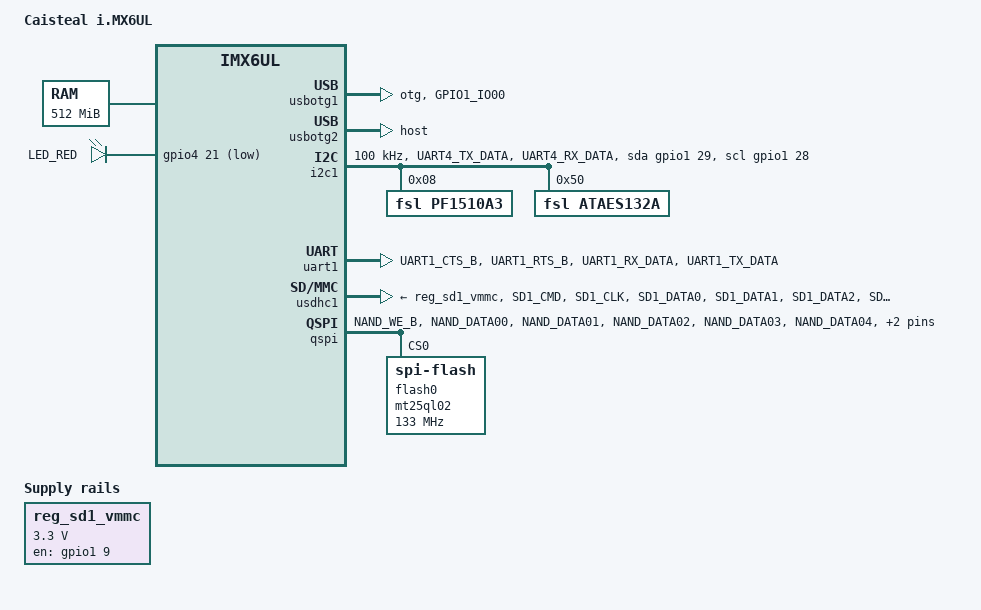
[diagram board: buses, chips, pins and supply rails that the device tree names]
/*
 * Device tree
 * Caisteal Secure System
 * Copyright (C) 2020 Harkirat Singh Virk
 * Harkirat Singh Virk <summertanks@gmail.com>
 * GPL Licence
 */

/dts-v1/;

#include "imx6ul.dtsi"

/ {
	model = "Caisteal i.MX6UL";
	compatible = "fsl,imx6ul-caisteal", "fsl,imx6ul";

	/* TODO: Check */

	chosen {
		stdout-path = &uart1;
	};

	memory {
		reg = <0x80000000 0x20000000>;
	};

	leds {
		compatible = "gpio-leds";
		pinctrl-names = "default";
		pinctrl-0 = <&pinctrl_led>;

		led-red {
			label = "LED_RED";
			gpios = <&gpio4 21 GPIO_ACTIVE_LOW>; /* Check PIN */
			default-state = "off";
		};
	};

	regulators {
		compatible = "simple-bus";
		#address-cells = <1>;
		#size-cells = <0>;

		reg_sd1_vmmc: regulator@1 {
			compatible = "regulator-fixed";
			regulator-name = "VSD_3V3";
			regulator-min-microvolt = <3300000>;
			regulator-max-microvolt = <3300000>;
			gpio = <&gpio1 9 GPIO_ACTIVE_HIGH>;
			off-on-delay = <20000>;
			enable-active-high;
		};
	};
};

&usbotg1 {
        pinctrl-names = "default";
        pinctrl-0 = <&pinctrl_usb_otg1_id>;
        dr_mode = "otg";
        srp-disable;
        hnp-disable;
        adp-disable;
        status = "okay";
};

&usbotg2 {
        dr_mode = "host";
        disable-over-current;
        status = "okay";
};

&usbphy1 {
        tx-d-cal = <0x5>;
};

&usbphy2 {
        tx-d-cal = <0x5>;
};

&i2c1 {
	clock-frequency = <100000>;
	pinctrl-names = "default";
	pinctrl-0 = <&pinctrl_i2c1>;
	pinctrl-1 = <&pinctrl_i2c1>;
	scl-gpios = <&gpio1 28 GPIO_ACTIVE_HIGH>;
	sda-gpios = <&gpio1 29 GPIO_ACTIVE_HIGH>;
	status = "okay";

	pf1510a3@0e {
		compatible = "fsl,pf1510a3";
		reg = <0x08>;
		position = <0>;
	};

	ataes132a@1e {
		compatible = "fsl,ataes132a";
		reg = <0x50>;
		position = <1>;
	};
};

&uart1 {
	pinctrl-names = "default";
	pinctrl-0 = <&pinctrl_uart1>;
	status = "okay";
};

&usdhc1 {
        pinctrl-names = "default";
        pinctrl-0 = <&pinctrl_usdhc1>;
        cd-gpios = <&gpio1 19 GPIO_ACTIVE_LOW>;
        wakeup-source;
        vmmc-supply = <&reg_sd1_vmmc>;
        status = "okay";

	sd0: mtfc8gak {
		#address-cells = <1>;
                #size-cells = <1>;	
	};
};

&qspi {
        pinctrl-names = "default";
        pinctrl-0 = <&pinctrl_qspi>;
        status = "okay";
        ddrsmp=<0>;

        flash0: mt25ql02@0 {
                #address-cells = <1>;
                #size-cells = <1>;
                compatible = "spi-flash";
		spi-max-frequency = <133000000>;
                spi-nor,ddr-quad-read-dummy = <6>;
                reg = <0>;
        };
};

&iomuxc {
	
	pinctrl-names = "default";
	imx6ul-caisteal {
	
	pinctrl_i2c1: i2c1grp {
                        fsl,pins = <
                                MX6UL_PAD_UART4_TX_DATA__I2C1_SCL 	0x4001b8b0
                                MX6UL_PAD_UART4_RX_DATA__I2C1_SDA 	0x4001b8b0
                        >;
                };

	pinctrl_qspi: qspigrp {
                        fsl,pins = <
				MX6UL_PAD_NAND_WE_B__QSPI_B_SS0_B          0x70a1
				MX6UL_PAD_NAND_DATA00__QSPI_B_SS1_B        0x70a1
				MX6UL_PAD_NAND_DATA01__QSPI_B_DQS          0x70a1
				MX6UL_PAD_NAND_DATA02__QSPI_B_DATA00       0x70a1
				MX6UL_PAD_NAND_DATA03__QSPI_B_DATA01       0x70a1
				MX6UL_PAD_NAND_DATA04__QSPI_B_DATA02       0x70a1
				MX6UL_PAD_NAND_DATA05__QSPI_B_DATA03       0x70a1
				MX6UL_PAD_NAND_RE_B__QSPI_B_SCLK           0x70a1
                        >;
                };

	 pinctrl_uart1: uart1grp {
                        fsl,pins = <
				MX6UL_PAD_UART1_CTS_B__UART1_DCE_CTS       0x1b0b1	/* is required? */
				MX6UL_PAD_UART1_RTS_B__UART1_DCE_RTS       0x1b0b1	/* is required? */
				MX6UL_PAD_UART1_RX_DATA__UART1_DCE_RX      0x1b0b1
				MX6UL_PAD_UART1_TX_DATA__UART1_DCE_TX      0x1b0b1

                        >;
                };

	pinctrl_usdhc1: usdhc1grp {
                        fsl,pins = <
                                MX6UL_PAD_SD1_CMD__USDHC1_CMD           0x17059
                                MX6UL_PAD_SD1_CLK__USDHC1_CLK           0x10071
                                /*      MX6_PAD_NAND_WP_B__USDHC1_RESET_B        0x000010B0 */
                                MX6UL_PAD_SD1_DATA0__USDHC1_DATA0       0x17059
                                MX6UL_PAD_SD1_DATA1__USDHC1_DATA1       0x17059
                                MX6UL_PAD_SD1_DATA2__USDHC1_DATA2       0x17059
                                MX6UL_PAD_SD1_DATA3__USDHC1_DATA3       0x17059
                                MX6UL_PAD_NAND_READY_B__USDHC1_DATA4    0x17059
                                MX6UL_PAD_NAND_CE0_B__USDHC1_DATA5      0x17059
                                MX6UL_PAD_NAND_CE1_B__USDHC1_DATA6      0x17059
                                MX6UL_PAD_NAND_CLE__USDHC1_DATA7        0x17059
                        >;
                };

	pinctrl_usb_otg1_id: usbotg1idgrp {
			fsl,pins = <
				MX6UL_PAD_GPIO1_IO00__ANATOP_OTG1_ID   	0x17059
			>;
		};

	pinctrl_led: ledgrp {
			fsl,pins = <
				MX6UL_PAD_GPIO1_IO02__GPIO1_IO02	0x1f020
			>;
		};
	};
};

